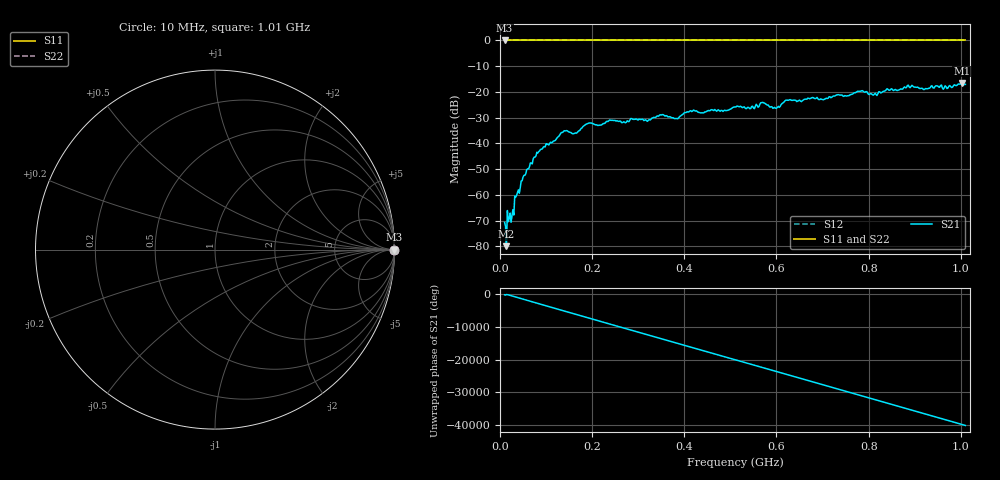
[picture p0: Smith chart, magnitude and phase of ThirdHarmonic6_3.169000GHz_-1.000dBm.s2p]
! 8/17/2025 9:32:19 AM
! C:\ANRITSUVNA\TEMP\TEMP.S2P
! CHANNEL.1
! TR.MEASUREMENT
! RAW.DATA
! RF.CORRECTION.OFF
! AVERAGING.OFF
! IF.BANDWIDTH: 5KHZ
! SWEEPTYPE:  FREQ.SWEEP(Linear)
! Reference Plane Port Info
! PORT:  PORT1  PORT2
! DISTANCE:  0  m  0  m
! TIME:  0  s  0  s
! PHASE.OFFSET:  0  deg.  0  deg.
! LOSS:  0  dB  0  dB
! REF.LOSS:  0  dB  0  dB
! REF.FREQ:  0  Hz  0  Hz
! Power Info
! POWER:  -20  dBm  -20  dBm
! EFF.POWER:  -20  dBm  -20  dBm
! SOURCE.ATTEN:  0  dB  0  dB
! TEST.ATTEN:  0  dB  0  dB
# GHZ S RI R 50.0
! FREQ.GHZ  S11RE  S11IM  S21RE  S21IM  S12RE  S12IM  S22RE  S22IM
!; PortSelection: Port_12
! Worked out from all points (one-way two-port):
!   501 points, 10 MHz to 1.01 GHz, reference 50 ohm
!   highest |S21| = -16.55 dB at 1.002 GHz (marker M1); lowest = -79.9 dB at 14 MHz (marker M2)
!   lowest |S11| = 0.0 dB at 10 MHz (marker M3)
!   |S11| at or under -10 dB: nowhere
!   |S22| runs from 0.0 to 0.0 dB; largest |S21 - S12| = 1.1
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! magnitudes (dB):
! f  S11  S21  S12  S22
! 10 MHz  0.0  -70.7  0.0  0.0
! 14 MHz  0.0  -79.9  0.0  0.0
! 26 MHz  0.0  -68.2  0.0  0.0
! 36 MHz  0.0  -60.2  0.0  0.0
! 50 MHz  0.0  -53.1  0.0  0.0
! 84 MHz  0.0  -43.2  0.0  0.0
! 136 MHz  0.0  -35.7  0.0  0.0
! 162 MHz  0.0  -36.0  0.0  0.0
! 178 MHz  0.0  -34.0  0.0  0.0
! 344 MHz  0.0  -29.4  0.0  0.0
! 382 MHz  0.0  -30.3  0.0  0.0
! 416 MHz  0.0  -27.6  0.0  0.0
! 510 MHz  0.0  -25.9  0.0  0.0
! 570 MHz  0.0  -24.1  0.0  0.0
! 596 MHz  0.0  -26.0  0.0  0.0
! 624 MHz  0.0  -23.2  0.0  0.0
! 678 MHz  0.0  -22.2  0.0  0.0
! 782 MHz  0.0  -19.8  0.0  0.0
! 814 MHz  0.0  -20.5  0.0  0.0
! 844 MHz  0.0  -19.3  0.0  0.0
! 1.002 GHz  0.0  -16.5  0.0  0.0
! 1.01 GHz  0.0  -17.1  0.0  0.0
